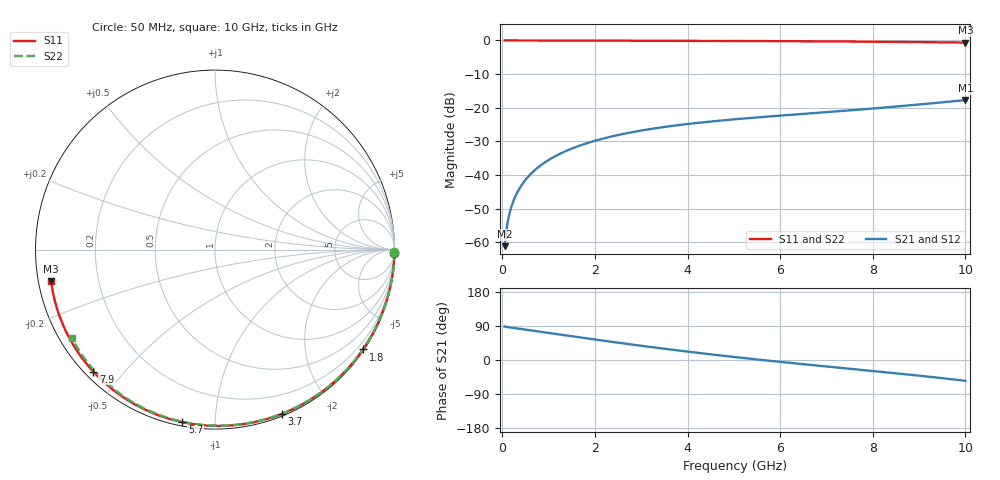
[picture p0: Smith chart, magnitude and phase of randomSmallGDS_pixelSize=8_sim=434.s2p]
! freq	dB(S11)	phase(S11)	dB(S12)	phase(S12)
!  dB(S21)	phase(S21)	dB(S22)	phase(S22)
!S-par simulation data
#  GHz  S  DB  R 50
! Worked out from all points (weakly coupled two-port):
!   200 points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, 50 MHz to 10 GHz, reference 50 ohm
!   highest |S21| = -17.72 dB at 10 GHz (marker M1); lowest = -61.1 dB at 50 MHz (marker M2)
!   lowest |S11| = -0.6 dB at 10 GHz (marker M3), VSWR 27.62, Z = 1.83 - j4.8 ohm
!   |S11| at or under -10 dB: nowhere
!   |S22| runs from -0.6 to 0.0 dB; largest |S21 - S12| = 0
!   S11 on the Smith chart (normalised r, x): 50 MHz: open; 1.8 GHz: 0.03, -3.27; 3.7 GHz: 0.02, -1.49; 5.7 GHz: 0.02, -0.83; 7.9 GHz: 0.02, -0.41; 10 GHz: 0.04, -0.10
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0.05  -0.00 -1.0  -61.10 88.4  -61.10 88.4  -0.00 -0.9
0.1  -0.00 -1.9  -55.15 87.2  -55.15 87.2  -0.00 -1.7
0.15  -0.00 -2.9  -51.69 86.1  -51.69 86.1  -0.00 -2.6
0.2  -0.00 -3.9  -49.24 85.3  -49.24 85.3  -0.00 -3.5
0.35  -0.00 -6.7  -44.46 82.8  -44.46 82.8  -0.00 -6.1
0.5  -0.01 -9.6  -41.41 80.2  -41.41 80.2  -0.01 -8.7
0.7  -0.02 -13.4  -38.53 76.8  -38.53 76.8  -0.01 -12.2
1  -0.02 -19.1  -35.49 71.5  -35.49 71.5  -0.02 -17.3
1.35  -0.03 -25.6  -32.98 65.4  -32.98 65.4  -0.03 -23.3
1.75  -0.05 -33.1  -30.86 58.4  -30.86 58.4  -0.04 -30.0
1.8  -0.05 -34.0  -30.64 57.5  -30.64 57.5  -0.04 -30.8
2.6  -0.07 -48.5  -27.79 44.0  -27.79 44.0  -0.06 -44.1
3.4  -0.09 -62.6  -25.89 31.2  -25.89 31.2  -0.09 -56.9
3.7  -0.10 -67.8  -25.32 26.6  -25.32 26.6  -0.09 -61.5
4.35  -0.13 -78.8  -24.29 17.1  -24.29 17.1  -0.12 -71.5
5.05  -0.16 -90.3  -23.38 7.4  -23.38 7.4  -0.14 -81.8
5.7  -0.19 -100.7  -22.64 -1.1  -22.64 -1.1  -0.17 -91.2
6.7  -0.25 -116.4  -21.60 -13.5  -21.60 -13.5  -0.23 -105.0
7.9  -0.35 -135.0  -20.32 -27.7  -20.32 -27.7  -0.32 -121.0
8.35  -0.40 -142.0  -19.81 -33.2  -19.81 -33.2  -0.36 -126.9
9.2  -0.51 -155.6  -18.77 -43.9  -18.77 -43.9  -0.45 -138.0
10  -0.63 -169.0  -17.72 -54.8  -17.72 -54.8  -0.56 -148.5
